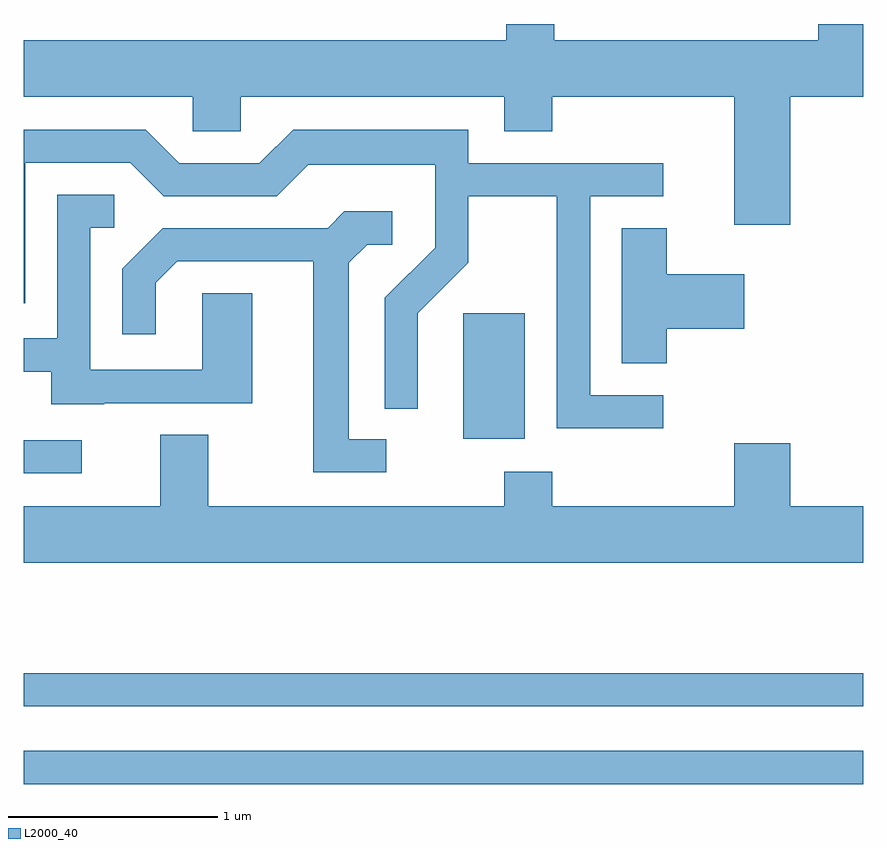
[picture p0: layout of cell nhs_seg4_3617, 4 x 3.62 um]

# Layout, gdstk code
import gdstk
lib = gdstk.Library(unit=1e-6, precision=1e-09)
def R(c, l, rs):  # rectangles x0, y0, x1, y1
    for r in rs: c.add(gdstk.rectangle(r[:2], r[2:], *l))
def P(c, l, *ps):  # polygons
    for p in ps: c.add(gdstk.Polygon(p, *l))
L2000_40 = (2000, 40)

nhs_seg4_3617 = lib.new_cell('nhs_seg4_3617')
R(nhs_seg4_3617, L2000_40, [(291.611,1280.361,295.611,1280.519), (291.611,1280.731,295.611,1280.889), (291.611,1281.841,291.888,1281.999), (293.706,1282.006,293.999,1282.604)])
P(nhs_seg4_3617, L2000_40, [(295.264,1283.636),(295.611,1283.636),(295.611,1283.982),(295.396,1283.982),(295.396,1283.904),(294.139,1283.904),(294.139,1283.982),(293.911,1283.982),(293.911,1283.904),(291.611,1283.904),(291.611,1283.636),(292.416,1283.636),(292.416,1283.471),(292.644,1283.471),(292.644,1283.636),(293.901,1283.636),(293.901,1283.471),(294.129,1283.471),(294.129,1283.636),(294.996,1283.636),(294.996,1283.026),(295.264,1283.026)],
  [(294.658,1282.214),(294.309,1282.214),(294.309,1283.161),(294.658,1283.161),(294.658,1283.319),(293.729,1283.319),(293.729,1283.479),(292.894,1283.479),(292.734,1283.319),(292.352,1283.319),(292.192,1283.479),(291.611,1283.479),(291.611,1282.651),(291.619,1282.651),(291.619,1283.321),(292.119,1283.321),(292.279,1283.161),(292.817,1283.161),(292.967,1283.311),(293.571,1283.311),(293.571,1282.917),(293.331,1282.677),(293.331,1282.148),(293.489,1282.148),(293.489,1282.604),(293.729,1282.844),(293.729,1283.161),(294.151,1283.161),(294.151,1282.056),(294.658,1282.056)],
  [(291.995,1282.176),(292.699,1282.176),(292.699,1282.699),(292.461,1282.699),(292.461,1282.334),(291.929,1282.334),(291.929,1283.011),(292.043,1283.011),(292.043,1283.169),(291.771,1283.169),(291.771,1282.484),(291.611,1282.484),(291.611,1282.326),(291.741,1282.326),(291.741,1282.171),(291.995,1282.171)],
  [(293.338,1282.004),(293.159,1282.004),(293.159,1282.844),(293.247,1282.931),(293.368,1282.931),(293.368,1283.089),(293.139,1283.089),(293.059,1283.009),(292.274,1283.009),(292.081,1282.817),(292.081,1282.503),(292.239,1282.503),(292.239,1282.749),(292.342,1282.851),(292.991,1282.851),(292.991,1281.846),(293.338,1281.846)],
  [(294.674,1282.531),(295.044,1282.531),(295.044,1282.789),(294.674,1282.789),(294.674,1283.009),(294.461,1283.009),(294.461,1282.366),(294.674,1282.366)],
  [(295.611,1281.684),(295.264,1281.684),(295.264,1281.984),(294.996,1281.984),(294.996,1281.684),(294.129,1281.684),(294.129,1281.849),(293.901,1281.849),(293.901,1281.684),(292.489,1281.684),(292.489,1282.024),(292.261,1282.024),(292.261,1281.684),(291.611,1281.684),(291.611,1281.416),(295.611,1281.416)])

lib.write_gds('nhs_seg4_3617.gds')
